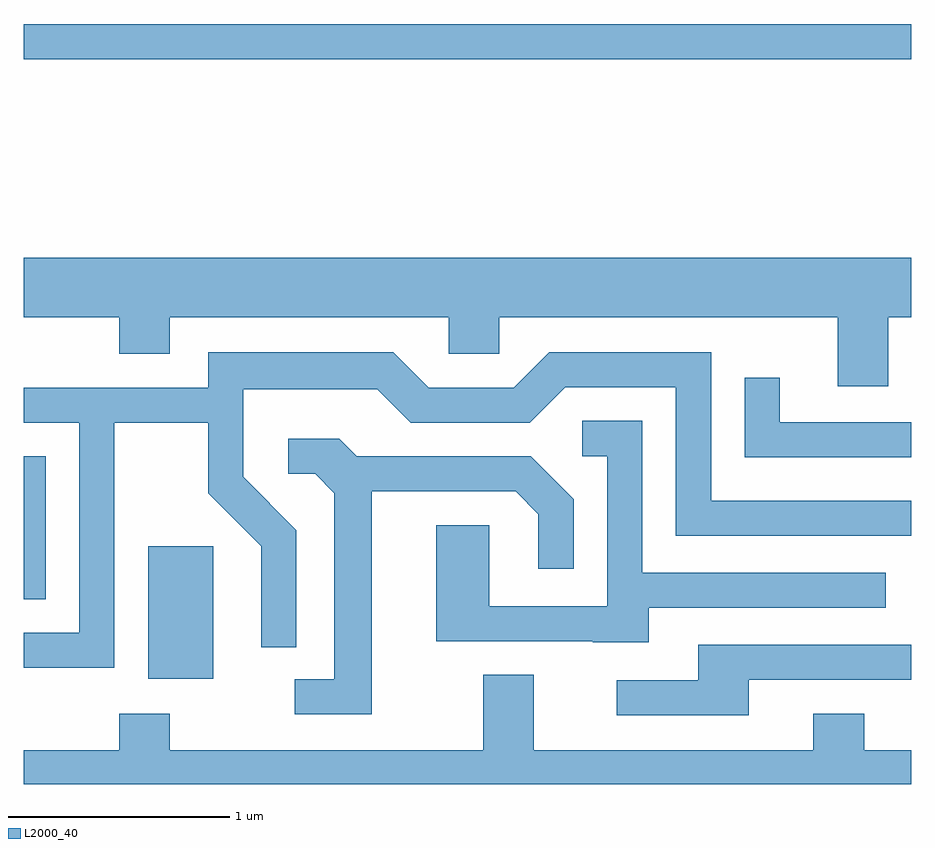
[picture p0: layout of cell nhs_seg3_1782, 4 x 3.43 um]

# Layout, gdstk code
import gdstk
lib = gdstk.Library(unit=1e-6, precision=1e-09)
def R(c, l, rs):  # rectangles x0, y0, x1, y1
    for r in rs: c.add(gdstk.rectangle(r[:2], r[2:], *l))
def P(c, l, *ps):  # polygons
    for p in ps: c.add(gdstk.Polygon(p, *l))
L2000_40 = (2000, 40)

nhs_seg3_1782 = lib.new_cell('nhs_seg3_1782')
R(nhs_seg3_1782, L2000_40, [(238.171,1144.366,238.464,1144.964), (237.611,1144.726,237.709,1145.369), (237.611,1147.161,241.611,1147.319)])
P(nhs_seg3_1782, L2000_40, [(241.509,1145.996),(241.611,1145.996),(241.611,1146.264),(237.611,1146.264),(237.611,1145.996),(238.041,1145.996),(238.041,1145.831),(238.269,1145.831),(238.269,1145.996),(239.526,1145.996),(239.526,1145.831),(239.754,1145.831),(239.754,1145.996),(241.281,1145.996),(241.281,1145.686),(241.509,1145.686)],
  [(238.019,1145.521),(238.441,1145.521),(238.441,1145.204),(238.681,1144.964),(238.681,1144.508),(238.839,1144.508),(238.839,1145.037),(238.599,1145.277),(238.599,1145.671),(239.204,1145.671),(239.354,1145.521),(239.892,1145.521),(240.052,1145.681),(240.551,1145.681),(240.551,1145.011),(241.611,1145.011),(241.611,1145.169),(240.709,1145.169),(240.709,1145.839),(239.979,1145.839),(239.819,1145.679),(239.437,1145.679),(239.277,1145.839),(238.441,1145.839),(238.441,1145.679),(237.611,1145.679),(237.611,1145.521),(237.861,1145.521),(237.861,1144.574),(237.611,1144.574),(237.611,1144.416),(238.019,1144.416)],
  [(241.611,1145.524),(241.019,1145.524),(241.019,1145.723),(240.861,1145.723),(240.861,1145.366),(241.611,1145.366)],
  [(240.429,1144.686),(241.498,1144.686),(241.498,1144.844),(240.399,1144.844),(240.399,1145.529),(240.128,1145.529),(240.128,1145.371),(240.241,1145.371),(240.241,1144.694),(239.709,1144.694),(239.709,1145.059),(239.471,1145.059),(239.471,1144.536),(240.175,1144.536),(240.175,1144.531),(240.429,1144.531)],
  [(239.179,1145.211),(239.829,1145.211),(239.931,1145.109),(239.931,1144.863),(240.089,1144.863),(240.089,1145.177),(239.897,1145.369),(239.112,1145.369),(239.032,1145.449),(238.803,1145.449),(238.803,1145.291),(238.924,1145.291),(239.011,1145.204),(239.011,1144.364),(238.833,1144.364),(238.833,1144.206),(239.179,1144.206)],
  [(240.879,1144.361),(241.611,1144.361),(241.611,1144.519),(240.651,1144.519),(240.651,1144.359),(240.283,1144.359),(240.283,1144.201),(240.879,1144.201)],
  [(241.611,1144.044),(241.399,1144.044),(241.399,1144.209),(241.171,1144.209),(241.171,1144.044),(239.909,1144.044),(239.909,1144.384),(239.681,1144.384),(239.681,1144.044),(238.269,1144.044),(238.269,1144.209),(238.041,1144.209),(238.041,1144.044),(237.611,1144.044),(237.611,1143.892),(241.611,1143.892)])

lib.write_gds('nhs_seg3_1782.gds')
